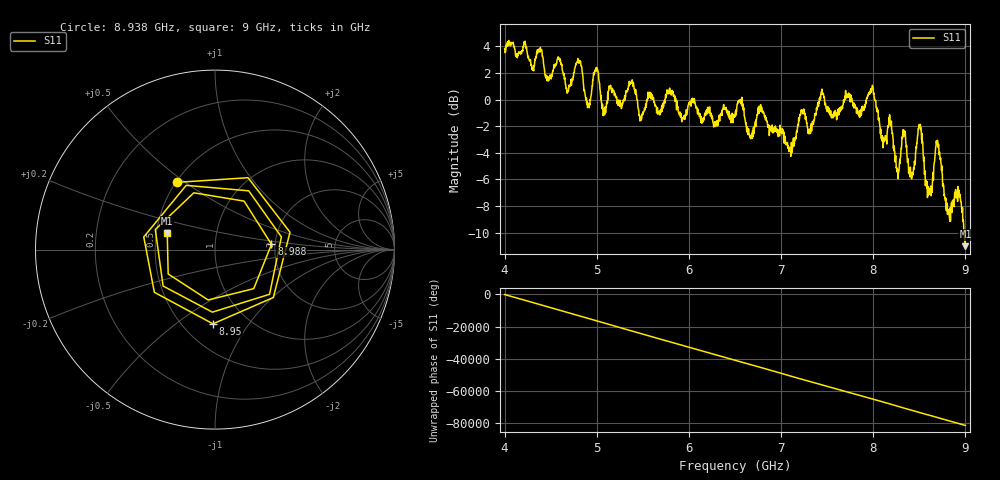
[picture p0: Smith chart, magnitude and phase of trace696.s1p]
! Created with skrf 1.8.0 (http://scikit-rf.org).
# Hz S RI R 50.0
!freq ReS11 ImS11
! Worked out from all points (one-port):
!   1601 points, 4 GHz to 9 GHz, reference 50 ohm
!   lowest |S11| = -11.0 dB at 9 GHz (marker M1), VSWR 1.78, Z = 28.6 + j5.66 ohm
!   |S11| at or under -10 dB: 8.983834 GHz to end of sweep
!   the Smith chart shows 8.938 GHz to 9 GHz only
!   S11 on the Smith chart (normalised r, x): 8.938 GHz: 0.51, +0.47; 8.95 GHz: 0.69, -0.69; 8.988 GHz: 1.91, +0.12; 9 GHz: 0.57, +0.11
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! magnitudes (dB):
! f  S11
! 4 GHz  3.8
! 4.625 GHz  2.2
! 5.25 GHz  0.0
! 5.375 GHz  1.4
! 5.481 GHz  -1.4
! 5.875 GHz  -0.6
! 6.5 GHz  -1.1
! 6.678 GHz  -2.7
! 6.784 GHz  -0.9
! 7.125 GHz  -3.6
! 7.441 GHz  0.5
! 7.559 GHz  -1.4
! 7.75 GHz  -0.2
! 7.988 GHz  0.9
! 8.103 GHz  -3.0
! 8.191 GHz  -1.9
! 8.259 GHz  -5.3
! 8.331 GHz  -2.3
! 8.375 GHz  -4.6
! 8.431 GHz  -5.7
! 8.503 GHz  -2.1
! 8.597 GHz  -7.2
! 8.697 GHz  -3.1
! 8.812 GHz  -8.5
! 8.938 GHz  -7.3
! 8.95 GHz  -7.7
! 8.988 GHz  -10.0
! 9 GHz  -11.0
